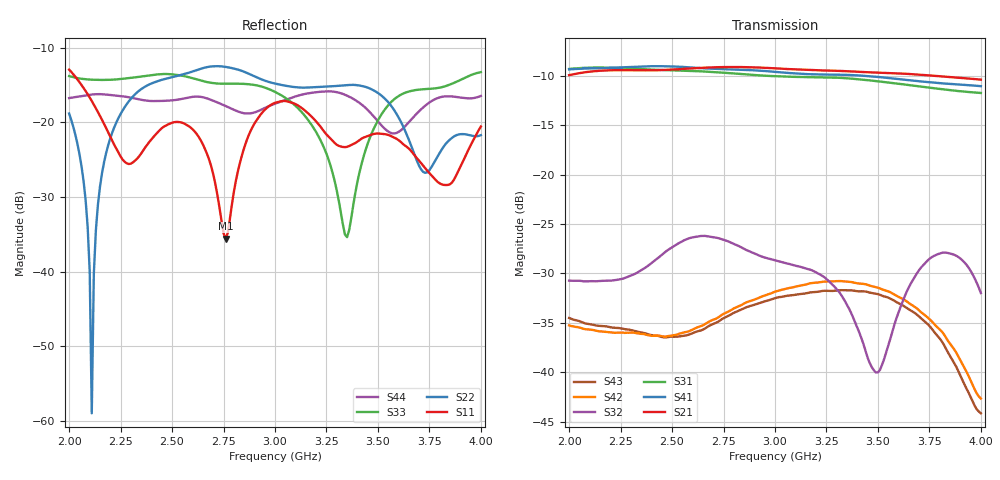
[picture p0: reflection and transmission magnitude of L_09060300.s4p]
!Agilent Technologies,N5224A,MY51441093,A.09.90.21
!Agilent N5224A: A.09.90.21
!Date: Friday, December 19, 2025 16:38:01
!Correction: S11(Full 4 Port(1,2,3,4))
!S12(Full 4 Port(1,2,3,4))
!S13(Full 4 Port(1,2,3,4))
!S14(Full 4 Port(1,2,3,4))
!S21(Full 4 Port(1,2,3,4))
!S22(Full 4 Port(1,2,3,4))
!S23(Full 4 Port(1,2,3,4))
!S24(Full 4 Port(1,2,3,4))
!S31(Full 4 Port(1,2,3,4))
!S32(Full 4 Port(1,2,3,4))
!S33(Full 4 Port(1,2,3,4))
!S34(Full 4 Port(1,2,3,4))
!S41(Full 4 Port(1,2,3,4))
!S42(Full 4 Port(1,2,3,4))
!S43(Full 4 Port(1,2,3,4))
!S44(Full 4 Port(1,2,3,4))
!S4P File: Measurements: <S11,S12,S13,S14>,
!<S21,S22,S23,S24>,
!<S31,S32,S33,S34>,
!<S41,S42,S43,S44>:
# Hz S  dB  R 50
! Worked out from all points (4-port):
!   201 points, 2 GHz to 4 GHz, reference 50 ohm
!   strongest paths, dB at 2 GHz, 2.5 GHz, 3 GHz, 3.5 GHz, 4 GHz:
!     S21: -9.9, -9.4, -9.2, -9.7, -10.4
!     S41: -9.4, -9.1, -9.6, -10.1, -11.1
!     S31: -9.3, -9.4, -10.0, -10.6, -11.7
!     S32: -30.7, -27.4, -28.7, -40.0, -32.0
!     S42: -35.3, -36.3, -31.9, -31.4, -42.7
!     S43: -34.5, -36.4, -32.5, -32.1, -44.2
!   lowest |S11| = -35.6 dB at 2.76 GHz (marker M1), VSWR 1.03, Z = 48.8 + j1.17 ohm
!   |S11| at or under -10 dB: start of sweep to end of sweep
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2e9  -12.90 -49.4  -9.92 100.9  -9.26 143.0  -9.47 -144.3
     -9.94 100.8  -18.79 153.4  -30.69 56.6  -35.39 146.0
     -9.31 143.1  -30.73 56.8  -13.77 -63.0  -34.67 -172.8
     -9.36 -144.1  -35.26 146.3  -34.51 -172.7  -16.72 -29.2
2.09e9  -16.19 -73.7  -9.60 48.8  -9.13 98.2  -9.38 169.3
        -9.61 48.8  -33.98 127.3  -30.75 -9.4  -35.80 47.5
        -9.19 98.4  -30.80 -9.2  -14.22 -82.3  -35.29 96.8
        -9.26 169.6  -35.66 47.9  -35.10 97.0  -16.32 -63.6
2.11e9  -17.11 -77.6  -9.55 37.4  -9.12 88.2  -9.37 159.1
        -9.56 37.3  -59.02 -156.7  -30.74 -24.3  -35.84 25.7
        -9.17 88.4  -30.78 -24.1  -14.26 -86.3  -35.35 76.9
        -9.25 159.3  -35.71 25.8  -35.18 77.0  -16.25 -70.3
2.22e9  -23.04 -81.2  -9.43 -24.6  -9.14 33.1  -9.31 103.1
        -9.44 -24.7  -20.59 -93.7  -30.63 -105.0  -36.13 -91.9
        -9.20 33.2  -30.68 -104.8  -14.24 -108.5  -35.70 -32.5
        -9.18 103.3  -36.01 -91.5  -35.50 -32.4  -16.37 -103.5
2.76e9  -35.60 133.9  -9.09 53.1  -9.63 124.8  -9.44 -170.6
        -9.12 53.0  -12.54 152.5  -26.63 -97.2  -34.12 139.5
        -9.71 124.8  -26.67 -97.0  -14.80 137.4  -34.60 -149.5
        -9.34 -170.5  -34.00 139.7  -34.43 -149.6  -17.78 148.6
3.35e9  -23.27 -90.8  -9.52 119.9  -10.18 -169.3  -9.98 -104.2
        -9.54 119.9  -14.98 82.2  -33.13 -37.0  -30.92 -13.8
        -10.26 -169.0  -33.19 -36.8  -35.39 89.7  -31.87 56.4
        -9.91 -104.1  -30.84 -13.7  -31.71 56.2  -16.40 66.4
4e9  -20.54 18.1  -10.36 166.0  -11.65 -136.3  -11.08 -67.4
     -10.39 166.3  -21.70 77.4  -31.94 62.5  -42.68 81.1
     -11.74 -135.7  -31.99 63.0  -13.24 26.0  -44.26 134.7
     -11.05 -66.7  -42.66 81.5  -44.16 135.0  -16.43 23.5
